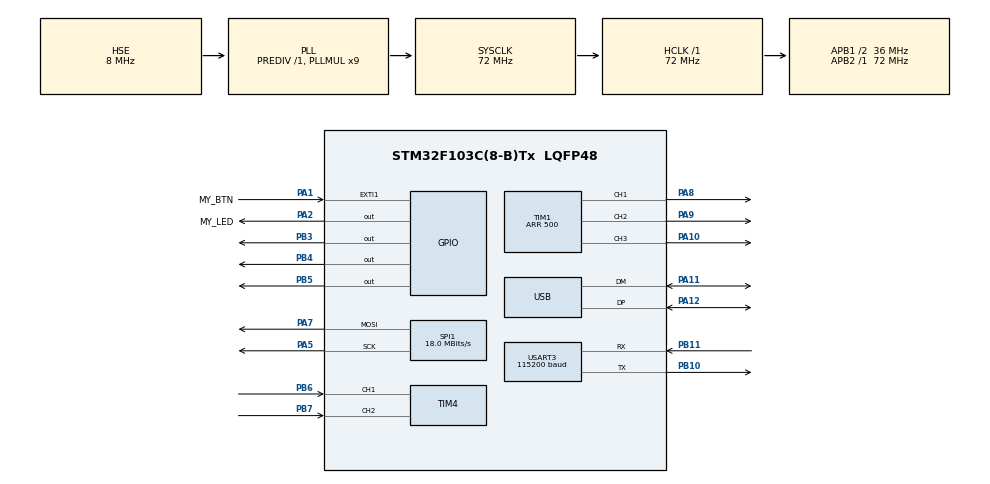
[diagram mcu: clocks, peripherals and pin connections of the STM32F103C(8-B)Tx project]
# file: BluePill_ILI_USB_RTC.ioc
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Mcu.Family=STM32F1
Mcu.Name=STM32F103C(8-B)Tx
Mcu.Package=LQFP48
NVIC.EXTI1_IRQn=true\:0\:0\:false\:false\:true\:true\:true
NVIC.PriorityGroup=NVIC_PRIORITYGROUP_4
NVIC.TIM4_IRQn=true\:0\:0\:false\:false\:true\:true\:true
NVIC.USART3_IRQn=true\:0\:0\:false\:false\:true\:true\:true
NVIC.USB_LP_CAN1_RX0_IRQn=true\:0\:0\:false\:false\:true\:false\:true
PA1.GPIO_Label=MY_BTN
PA1.GPIO_PuPd=GPIO_PULLUP
PA1.Signal=GPXTI1
PA10.Signal=S_TIM1_CH3
PA11.Mode=Device
PA11.Signal=USB_DM
PA12.Mode=Device
PA12.Signal=USB_DP
PA13.Mode=Serial_Wire
PA13.Signal=SYS_JTMS-SWDIO
PA14.Mode=Serial_Wire
PA14.Signal=SYS_JTCK-SWCLK
PA2.GPIO_Label=MY_LED
PA2.Signal=GPIO_Output
PA5.Mode=TX_Only_Simplex_Unidirect_Master
PA5.Signal=SPI1_SCK
PA7.Mode=TX_Only_Simplex_Unidirect_Master
PA7.Signal=SPI1_MOSI
PA8.Signal=S_TIM1_CH1
PA9.Signal=S_TIM1_CH2
PB10.Mode=Asynchronous
PB10.Signal=USART3_TX
PB11.Mode=Asynchronous
PB11.Signal=USART3_RX
PB3.Signal=GPIO_Output
PB4.Signal=GPIO_Output
PB5.Signal=GPIO_Output
PB6.GPIO_PuPd=GPIO_PULLUP
PB6.Signal=S_TIM4_CH1
PB7.GPIO_PuPd=GPIO_PULLUP
PB7.Signal=S_TIM4_CH2
PC14-OSC32_IN.Mode=LSE-External-Oscillator
PC14-OSC32_IN.Signal=RCC_OSC32_IN
PC15-OSC32_OUT.Mode=LSE-External-Oscillator
PC15-OSC32_OUT.Signal=RCC_OSC32_OUT
PD0-OSC_IN.Mode=HSE-External-Oscillator
PD0-OSC_IN.Signal=RCC_OSC_IN
PD1-OSC_OUT.Mode=HSE-External-Oscillator
PD1-OSC_OUT.Signal=RCC_OSC_OUT
ProjectManager.HeapSize=0x200
ProjectManager.StackSize=0x400
ProjectManager.TargetToolchain=STM32CubeIDE
RCC.AHBFreq_Value=72000000
RCC.APB1CLKDivider=RCC_HCLK_DIV2
RCC.APB1Freq_Value=36000000
RCC.APB1TimFreq_Value=72000000
RCC.APB2Freq_Value=72000000
RCC.APB2TimFreq_Value=72000000
RCC.EnbaleCSS=true
RCC.HCLKFreq_Value=72000000
RCC.PLLMUL=RCC_PLL_MUL9
RCC.PLLSourceVirtual=RCC_PLLSOURCE_HSE
RCC.RTCClockSelection=RCC_RTCCLKSOURCE_LSE
RCC.SYSCLKFreq_VALUE=72000000
RCC.SYSCLKSource=RCC_SYSCLKSOURCE_PLLCLK
RCC.USBFreq_Value=48000000
RCC.USBPrescaler=RCC_USBCLKSOURCE_PLL_DIV1_5
RTC.AutoPrediv=RTC_AUTO_1_SECOND
SH.S_TIM1_CH1.0=TIM1_CH1,PWM Generation1 CH1
SH.S_TIM1_CH2.0=TIM1_CH2,PWM Generation2 CH2
SH.S_TIM1_CH3.0=TIM1_CH3,PWM Generation3 CH3
SH.S_TIM4_CH1.0=TIM4_CH1,Encoder_Interface
SH.S_TIM4_CH2.0=TIM4_CH2,Encoder_Interface
SPI1.BaudRatePrescaler=SPI_BAUDRATEPRESCALER_4
SPI1.CalculateBaudRate=18.0 MBits/s
SPI1.Direction=SPI_DIRECTION_2LINES
SPI1.Mode=SPI_MODE_MASTER
SPI1.VirtualType=VM_MASTER
TIM1.Channel-PWM\ Generation1\ CH1=TIM_CHANNEL_1
TIM1.Channel-PWM\ Generation2\ CH2=TIM_CHANNEL_2
TIM1.Channel-PWM\ Generation3\ CH3=TIM_CHANNEL_3
TIM1.Period=500
USART3.BaudRate=115200
USART3.VirtualMode=VM_ASYNC
USB_DEVICE.CLASS_NAME_FS=CDC
USB_DEVICE.VirtualMode=Cdc
USB_DEVICE.VirtualModeFS=Cdc_FS
VP_RTC_VS_RTC_Activate.Mode=RTC_Enabled
VP_USB_DEVICE_VS_USB_DEVICE_CDC_FS.Mode=CDC_FS
board=custom

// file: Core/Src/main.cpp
/* USER CODE BEGIN Header */
/**
  ******************************************************************************
  * @file           : main.c
  * @brief          : Main program body
  ******************************************************************************
  * @attention
  *
  * <h2><center>&copy; Copyright (c) 2020 STMicroelectronics.
  * All rights reserved.</center></h2>
  *
  * This software component is licensed by ST under BSD 3-Clause license,
  * the "License"; You may not use this file except in compliance with the
  * License. You may obtain a copy of the License at:
  *                        opensource.org/licenses/BSD-3-Clause
  *
  ******************************************************************************
  */

/* JK Display Connection
 * Display wiki: http://www.lcdwiki.com/2.2inch_SPI_Module_ILI9341_SKU:MSP2202
 * Display				BluePill
 * 1) VCC				3.3V~5V
 * 2) GND				GND
 * 3) CS				PB3
 * 4) RESET				PB5
 * 5) DC/RS				PB4
 * 6) SDI/MOSI			PA7	(SPI1_MOSI)
 * 7) SCK				PA5	(SPI1_SCK)
 * 8) LED				PA8
 * 9) SDO/MISO			PA6	(SPI1_MISO)
 *
* USART3
 * PB10 USART TX
 * PB11 USART RX
 *
 * TIM3 form PWM over USART3
 * PA8	TIM1_CH1
 * PA9	TIM1_CH2
 * PA10	TIM1_CH3
 *
 * TIM4 Encoder mode: PB6, PB7
 *
 * Encoder Button:  PA1
 *
 * LED: PA2
 *
 */

/* USER CODE END Header */
#include "main.h"
#include "usb_device.h"

/* USER CODE BEGIN Includes */

#include "stdint.h"
#include <string.h>
#include <JKDateTime.h>
#include <JKLCDMenu.h>
#include <JKEEPROM.h>
#include "JK_USART_Commands.h"
#include "ILI9341_STM32_Driver.h"
#include "eeprom.h"
#include "eepromConfig.h"
#include "ringbuf.h"
#include <math.h>

/* USER CODE END Includes */

RTC_HandleTypeDef hrtc;

SPI_HandleTypeDef hspi1;

TIM_HandleTypeDef htim1;
TIM_HandleTypeDef htim4;

UART_HandleTypeDef huart3;

/* USER CODE BEGIN PV */
extern uint16_t LCD_HEIGHT;
extern uint16_t LCD_WIDTH;

int32_t pwm1_value_A= 55;
int32_t pwm2_value_A= 55;
int32_t pwm3_value_A= 55;
int32_t pwm1_value_B = 500;
int32_t pwm2_value_B = 500;
int32_t pwm3_value_B = 500;

char USARTcommandBuffer[USART_CMDBUFFERSIZE];

struct ringbuf ringBuffer;
uint8_t ringData(USART_RXBUFFERSIZE);

//struct ringbuf ringBufferCommands;
//uint8_t ringDataCommands(USART_RXBUFFERSIZE);

uint8_t btnFlag = 0;
uint8_t usartFlag = 0;

JKDateTime DateTime;
JKLCDMenu LCDMenu;
JKEEPROM MyEEPROM;

int32_t menu_Hours = 0;
int32_t menu_Minutes = 0;
int32_t menu_Seconds = 0;
int32_t menu_Day = 3;
int32_t menu_Month = 4;
int32_t menu_Year = 5;

/* USER CODE END PV */

void SystemClock_Config(void);
static void MX_GPIO_Init(void);
static void MX_RTC_Init(void);
static void MX_SPI1_Init(void);
static void MX_TIM1_Init(void);
static void MX_TIM4_Init(void);
static void MX_USART3_UART_Init(void);

int main(void)
{

  /* MCU Configuration--------------------------------------------------------*/

  /* Reset of all peripherals, Initializes the Flash interface and the Systick. */
  HAL_Init();

  /* Configure the system clock */
  SystemClock_Config();

  /* Initialize all configured peripherals */
  MX_GPIO_Init();
  MX_RTC_Init();
  MX_USB_DEVICE_Init();
  MX_SPI1_Init();
  MX_TIM1_Init();
  MX_TIM4_Init();
  MX_USART3_UART_Init();
  /* USER CODE BEGIN 2 */

  uint32_t timeCnt = 0;
  char buff[100];

  /*---------UART Enable interrupts-------------*/
  __HAL_UART_ENABLE_IT(&huart3, UART_IT_RXNE);
  HAL_NVIC_SetPriority(USART3_IRQn, 0, 0);
  HAL_NVIC_EnableIRQ(USART3_IRQn);

  /*---------Timer Encoder-------------*/
  HAL_TIM_Encoder_Start_IT(&htim4, TIM_CHANNEL_ALL);
  /*---------Timer PWM-------------*/
  HAL_TIM_PWM_Start(&htim1, TIM_CHANNEL_1);
  HAL_TIM_PWM_Start(&htim1, TIM_CHANNEL_2);
  HAL_TIM_PWM_Start(&htim1, TIM_CHANNEL_3);

  /*---------Display init -------------*/
  ILI9341_Init();
  ILI9341_Set_Rotation(SCREEN_HORIZONTAL_2);
  //ILI9341_Set_Rotation(SCREEN_VERTICAL_1);

  ILI9341_Fill_Screen(BLACK);
  //Crosshair
  //ILI9341_Draw_Horizontal_Line(0, LCD_HEIGHT/2, LCD_WIDTH, DARKGREY);
  //ILI9341_Draw_Vertical_Line(LCD_WIDTH/2, 0, LCD_HEIGHT, DARKGREY);
  //Top Row
    ILI9341_Draw_Rectangle(0, 0, LCD_WIDTH, 20, NAVY);
    ILI9341_WriteString(320/3, 4, (char*)"System started", Font_7x10, WHITE, NAVY);

    //Spectrum
    //LCD_DrawSpectrum(20, LCD_HEIGHT/2 + 40 , LCD_WIDTH/2 - 40 , LCD_HEIGHT/2 - 60, 255);
    //ILI9341_Draw_Hollow_Rectangle(20, LCD_HEIGHT/2 + 40 , LCD_WIDTH/2 - 40  , LCD_HEIGHT/2 - 60, DARKGREY);

    //---------LCD Log init-------------
    ILI9341_Log_Init( 20  , LCD_HEIGHT/2 + 40, LCD_WIDTH - 40 + 1, LCD_HEIGHT/2 - 50 + 1, NAVY, GREEN, 0);

  /*---------USB CDC Test-------------*/
  //sprintf((char*)buff, "pokus");
  //CDC_Transmit_FS((uint8_t*)buff, strlen((char*)buff));

  MyEEPROM.addItem((char*)"Red", 	EEPROM_PWM1, (uint32_t*)&pwm1_value_A);
  MyEEPROM.addItem((char*)"Green", 	EEPROM_PWM2, (uint32_t*)&pwm2_value_A);
  MyEEPROM.addItem((char*)"Blue", 	EEPROM_PWM3, (uint32_t*)&pwm3_value_A);
  MyEEPROM.addItem((char*)"Day", 	EEPROM_DAY, (uint32_t*)&menu_Day);
  MyEEPROM.addItem((char*)"Month", 	EEPROM_MONTH, (uint32_t*)&menu_Month);
  MyEEPROM.addItem((char*)"Year", 	EEPROM_YEAR, (uint32_t*)&menu_Year);
  DateTime.SetDay(menu_Day);
  DateTime.SetMonth(menu_Month);
  DateTime.SetYear(menu_Year);

  //sprintf((char*)buff,"%s %li ",MyEEPROM.GetItemText(3), MyEEPROM.GetItemValue(3));
  //ILI9341_WriteString(0, 165, (char*)buff, Font_11x18, RED, WHITE);

  enum {
 	  M_TOP, //Menu Top level ID  = 0
 	  M_CLR,		//Menu Colors ID  = 1
 	  M_TIM,		//Menu Time ID  = 2
 	  M_DAT,		//Menu Date ID = 3
 	  M_SUB,			//Menu Submenu3 ID = 4

   };

   /*---------LCD Menu init-------------*/
   LCDMenu.addItem(M_TOP,M_TOP,M_CLR,(char*)"R G B", 			ITEMTYPE_GOTOSUBMENU);
 	  LCDMenu.addItem(M_TOP,M_CLR,0,(char*)"Back..", 			ITEMTYPE_EXITSUBMENU);
 	  LCDMenu.addItem(M_TOP,M_CLR,0,(char*)"Red", 				ITEMTYPE_NORMAL, 	&pwm1_value_A, 	Menu_Red_Callback);
 	  LCDMenu.addItem(M_TOP,M_CLR,0,(char*)"Green",				ITEMTYPE_NORMAL, 	&pwm2_value_A, 	Menu_Green_Callback);
 	  LCDMenu.addItem(M_TOP,M_CLR,0,(char*)"Blue",				ITEMTYPE_NORMAL, 	&pwm3_value_A, 	Menu_Blue_Callback);
 	  LCDMenu.addItem(M_TOP,M_CLR,0,(char*)"Red A", 				ITEMTYPE_NORMAL, 	&pwm1_value_A, 	Menu_Red_Callback);
 	  LCDMenu.addItem(M_TOP,M_CLR,0,(char*)"Green B",			ITEMTYPE_NORMAL, 	&pwm2_value_A, 	Menu_Green_Callback);
 	  LCDMenu.addItem(M_TOP,M_CLR,0,(char*)"Blue A",				ITEMTYPE_NORMAL, 	&pwm3_value_A, 	Menu_Blue_Callback);
   LCDMenu.addItem(M_TOP,M_TOP,M_TIM,(char*)"Set time", 		ITEMTYPE_GOTOSUBMENU);
   	  LCDMenu.addItem(M_TOP,M_TIM,0,(char*)"Back..", 			ITEMTYPE_EXITSUBMENU);
   	  LCDMenu.addItem(M_TOP,M_TIM,0,(char*)"Hours", 				ITEMTYPE_NORMAL, 	&menu_Hours, 	Menu_SetHours_Callback);
   	  LCDMenu.addItem(M_TOP,M_TIM,0,(char*)"Minutes", 			ITEMTYPE_NORMAL, 	&menu_Minutes, 	Menu_SetMinutes_Callback);
   	  LCDMenu.addItem(M_TOP,M_TIM,0,(char*)"Seconds", 			ITEMTYPE_NORMAL, 	&menu_Seconds, 	Menu_SetSeconds_Callback);
   LCDMenu.addItem(M_TOP,M_TOP,M_DAT,(char*)"Set date", 		ITEMTYPE_GOTOSUBMENU);
   	  LCDMenu.addItem(M_TOP,M_DAT,0,(char*)"Back..", 			ITEMTYPE_EXITSUBMENU);
   	  LCDMenu.addItem(M_TOP,M_DAT,0,(char*)"Day", 				ITEMTYPE_NORMAL, 		&menu_Day, 	Menu_SetDay_Callback);
   	  LCDMenu.addItem(M_TOP,M_DAT,0,(char*)"Month", 				ITEMTYPE_NORMAL, 	&menu_Month, 	Menu_SetMonth_Callback);
   	  LCDMenu.addItem(M_TOP,M_DAT,0,(char*)"Year", 				ITEMTYPE_NORMAL, 	&menu_Year, 	Menu_SetYear_Callback);
      LCDMenu.addItem(M_TOP,M_DAT,M_SUB,(char*)"To submenu3", 		ITEMTYPE_GOTOSUBMENU);
   	  	  LCDMenu.addItem(M_DAT,M_SUB,0,(char*)"Back..", 			ITEMTYPE_EXITSUBMENU);
   	  	  LCDMenu.addItem(M_DAT,M_SUB,0,(char*)"Submenu3.1", 		ITEMTYPE_NORMAL, 	&pwm1_value_A);
   	  	  LCDMenu.addItem(M_DAT,M_SUB,0,(char*)"Submenu3.2", 		ITEMTYPE_NORMAL, 	&pwm2_value_A);
   	  	  LCDMenu.addItem(M_DAT,M_SUB,0,(char*)"Submenu3.3", 		ITEMTYPE_NORMAL, 	&pwm3_value_A);
   LCDMenu.addItem(M_TOP,M_TOP,0,(char*)"Store settings", 	ITEMTYPE_CALLBACK_ONLY,	 	 NULL, 	Menu_StoreSettings_Callback);
   LCDMenu.addItem(M_TOP,M_TOP,0,(char*)"Load settings", 	ITEMTYPE_CALLBACK_ONLY, 	 NULL, 	Menu_LoadSettings_Callback);

   LCDMenu.Init();

  /*---------Ring Buffer init-------------*/
  ringbuf_init(&ringBuffer, &ringData, USART_RXBUFFERSIZE);
  char buffDateTime[10];
  /* USER CODE END 2 */

  /* Infinite loop */
  /* USER CODE BEGIN WHILE */

  while (1)
  {

		/*--- USART bufer process ---*/
		while(ringbuf_elements(&ringBuffer) != 0) {

		  uint8_t c = ringbuf_get(&ringBuffer);

		  uint8_t commandLen = USART_Extract_Commands(c, (uint8_t*)USARTcommandBuffer,  USART_CMDBUFFERSIZE);
		  if(commandLen !=0 ) {
			  USART_Process_Commands((char*)USARTcommandBuffer,commandLen );
			  ILI9341_LogToLCD(USARTcommandBuffer);
			  //HAL_UART_Transmit(&huart3, (uint8_t*)USARTcommandBuffer,commandLen+1, HAL_MAX_DELAY);
		  } else {
			  //HAL_UART_Transmit(&huart3, (uint8_t*)&c,1, HAL_MAX_DELAY);
		  }
		}

    /* USER CODE END WHILE */

    /* USER CODE BEGIN 3 */

	  if(timeCnt % 500 == 0) {
		  //==========BEGIN 1 second===========
		  DateTime.FillDate();
		  DateTime.FillTime();

		  //Print Date
		  DateTime.DateForPrint(buffDateTime);
		  ILI9341_WriteString(0, 0, buffDateTime, Font_11x18, WHITE, NAVY);

		  //Print Time
		  DateTime.TimeForPrint(buffDateTime);
		  ILI9341_WriteString(LCD_WIDTH-90, 0, buffDateTime, Font_11x18, WHITE, NAVY);

		  //Print Time to serial

		  //DateTime.TimeForPrintLn((char*)buff);
		  //CDC_Transmit_FS((uint8_t*)buff, strlen((char*)buff));

		  //HAL_UART_Transmit(&huart3, (uint8_t*)buff, strlen((char*)buff), 10);
		  //sprintf((char*)buff, "Time Counter:%i  ", timeCnt );
		  //ILI9341_WriteString(10, 75, (char*)buff, Font_7x10, WHITE, BLACK);
		  //==========END 1 second===========

	  }

	  if(timeCnt % 250 == 0) {
		  //==========BEGIN 0.5 sec===========
		  HAL_GPIO_TogglePin(GPIOA, GPIO_PIN_2);
		  //sprintf((char*)buff, "Time Counter:%i\n", timeCnt );
		  //sprintf((char*)buff, "ENCODER: %i     ", __HAL_TIM_GET_COUNTER(&htim4) );
		  //ILI9341_WriteString(160+10, 75, (char*)buff, Font_7x10, ORANGE, BLACK);
		  //CDC_Transmit_FS((uint8_t*)buff, strlen((char*)buff));

		  sprintf((char*)buff, "Time Counter:%li\n", timeCnt );

		  //sprintf((char*)buff, "R:%i G:%i B:%i\n", (int16_t) pwm1_value, (int16_t) pwm1_value, (int16_t) pwm2_value);

		  //sprintf((char*)buff, " #: %i\n", ringbuf_elements(&ringBuffer));

		  //sprintf((char*)buff, "ES:%08x ET:%08x VA:%x\n", _EEPROM_START_FLASH_PAGE_ADDRESS, _EEPROM_TRANSFER_PAGE_ADDRESS, _EEPROM_Num_VirtualAdd_IN_PAGE);

		  //sprintf((char*)buff, " EE:R:%liG:%liB:%li\n", MyEEPROM.ReadItemValueFromEEPROM(EEPROM_PWM1), MyEEPROM.ReadItemValueFromEEPROM(EEPROM_PWM2), MyEEPROM.ReadItemValueFromEEPROM(EEPROM_PWM3));

		  ILI9341_LogToLCD(buff);

		  //==========END 0.5 sec===========
	  }

	  if(timeCnt % 10 == 0) {
		  //==========BEGIN 0.02 sec===========

		  if(btnFlag == USER_BUTTON_ENTER && HAL_GPIO_ReadPin(GPIOA, GPIO_PIN_1) == GPIO_PIN_SET) {

			  LCDMenu.CheckButtons(btnFlag);
			  btnFlag = USER_BUTTON_NONE;
		  }
		  LCDMenu.ProcessMenu();

		  //==========END 0.02 sec===========
	  }

	  //==========BEGIN 1 ms===========

	  //PWM RED
	  if(pwm1_value_B < pwm1_value_A && pwm1_value_B < 500) {
		  pwm1_value_B+=1;
		  pwm1_setvalue(pwm1_value_B);
	  } else if(pwm1_value_B > pwm1_value_A && pwm1_value_B > 0) {
		  pwm1_value_B-=1;
		  pwm1_setvalue(pwm1_value_B);
	  }
	  //PWM GREEN
	  if(pwm2_value_B < pwm2_value_A && pwm2_value_B < 500) {
		  pwm2_value_B+=1;
		  pwm2_setvalue(pwm2_value_B);
	  } else if(pwm2_value_B > pwm2_value_A && pwm2_value_B > 0) {
		  pwm2_value_B-=1;
		  pwm2_setvalue(pwm2_value_B);
	  }
	  //PWM BLUE
	  if(pwm3_value_B < pwm3_value_A && pwm3_value_B < 500) {
		  pwm3_value_B+=1;
		  pwm3_setvalue(pwm3_value_B);
	  } else if(pwm3_value_B > pwm3_value_A && pwm3_value_B > 0) {
		  pwm3_value_B-=1;
		  pwm3_setvalue(pwm3_value_B);
	  }

	  //==========END 1 ms===========
	  HAL_Delay(1);
	  timeCnt++;

  }
  /* USER CODE END 3 */
}

void SystemClock_Config(void)
{
  RCC_OscInitTypeDef RCC_OscInitStruct = {0};
  RCC_ClkInitTypeDef RCC_ClkInitStruct = {0};
  RCC_PeriphCLKInitTypeDef PeriphClkInit = {0};

  /** Initializes the RCC Oscillators according to the specified parameters
  * in the RCC_OscInitTypeDef structure.
  */
  RCC_OscInitStruct.OscillatorType = RCC_OSCILLATORTYPE_HSE|RCC_OSCILLATORTYPE_LSE;
  RCC_OscInitStruct.HSEState = RCC_HSE_ON;
  RCC_OscInitStruct.HSEPredivValue = RCC_HSE_PREDIV_DIV1;
  RCC_OscInitStruct.LSEState = RCC_LSE_ON;
  RCC_OscInitStruct.HSIState = RCC_HSI_ON;
  RCC_OscInitStruct.PLL.PLLState = RCC_PLL_ON;
  RCC_OscInitStruct.PLL.PLLSource = RCC_PLLSOURCE_HSE;
  RCC_OscInitStruct.PLL.PLLMUL = RCC_PLL_MUL9;
  if (HAL_RCC_OscConfig(&RCC_OscInitStruct) != HAL_OK)
  {
    Error_Handler();
  }
  /** Initializes the CPU, AHB and APB buses clocks
  */
  RCC_ClkInitStruct.ClockType = RCC_CLOCKTYPE_HCLK|RCC_CLOCKTYPE_SYSCLK
                              |RCC_CLOCKTYPE_PCLK1|RCC_CLOCKTYPE_PCLK2;
  RCC_ClkInitStruct.SYSCLKSource = RCC_SYSCLKSOURCE_PLLCLK;
  RCC_ClkInitStruct.AHBCLKDivider = RCC_SYSCLK_DIV1;
  RCC_ClkInitStruct.APB1CLKDivider = RCC_HCLK_DIV2;
  RCC_ClkInitStruct.APB2CLKDivider = RCC_HCLK_DIV1;

  if (HAL_RCC_ClockConfig(&RCC_ClkInitStruct, FLASH_LATENCY_2) != HAL_OK)
  {
    Error_Handler();
  }
  PeriphClkInit.PeriphClockSelection = RCC_PERIPHCLK_RTC|RCC_PERIPHCLK_USB;
  PeriphClkInit.RTCClockSelection = RCC_RTCCLKSOURCE_LSE;
  PeriphClkInit.UsbClockSelection = RCC_USBCLKSOURCE_PLL_DIV1_5;
  if (HAL_RCCEx_PeriphCLKConfig(&PeriphClkInit) != HAL_OK)
  {
    Error_Handler();
  }
  /** Enables the Clock Security System
  */
  HAL_RCC_EnableCSS();
}

static void MX_RTC_Init(void)
{

  /** Initialize RTC Only
  */
  hrtc.Instance = RTC;
  hrtc.Init.AsynchPrediv = RTC_AUTO_1_SECOND;
  hrtc.Init.OutPut = RTC_OUTPUTSOURCE_ALARM;
  if (HAL_RTC_Init(&hrtc) != HAL_OK)
  {
    Error_Handler();
  }

}

static void MX_SPI1_Init(void)
{

  /* SPI1 parameter configuration*/
  hspi1.Instance = SPI1;
  hspi1.Init.Mode = SPI_MODE_MASTER;
  hspi1.Init.Direction = SPI_DIRECTION_2LINES;
  hspi1.Init.DataSize = SPI_DATASIZE_8BIT;
  hspi1.Init.CLKPolarity = SPI_POLARITY_LOW;
  hspi1.Init.CLKPhase = SPI_PHASE_1EDGE;
  hspi1.Init.NSS = SPI_NSS_SOFT;
  hspi1.Init.BaudRatePrescaler = SPI_BAUDRATEPRESCALER_4;
  hspi1.Init.FirstBit = SPI_FIRSTBIT_MSB;
  hspi1.Init.TIMode = SPI_TIMODE_DISABLE;
  hspi1.Init.CRCCalculation = SPI_CRCCALCULATION_DISABLE;
  hspi1.Init.CRCPolynomial = 10;
  if (HAL_SPI_Init(&hspi1) != HAL_OK)
  {
    Error_Handler();
  }

}

static void MX_TIM1_Init(void)
{

  TIM_MasterConfigTypeDef sMasterConfig = {0};
  TIM_OC_InitTypeDef sConfigOC = {0};
  TIM_BreakDeadTimeConfigTypeDef sBreakDeadTimeConfig = {0};

  htim1.Instance = TIM1;
  htim1.Init.Prescaler = 0;
  htim1.Init.CounterMode = TIM_COUNTERMODE_UP;
  htim1.Init.Period = 500;
  htim1.Init.ClockDivision = TIM_CLOCKDIVISION_DIV1;
  htim1.Init.RepetitionCounter = 0;
  htim1.Init.AutoReloadPreload = TIM_AUTORELOAD_PRELOAD_DISABLE;
  if (HAL_TIM_PWM_Init(&htim1) != HAL_OK)
  {
    Error_Handler();
  }
  sMasterConfig.MasterOutputTrigger = TIM_TRGO_RESET;
  sMasterConfig.MasterSlaveMode = TIM_MASTERSLAVEMODE_DISABLE;
  if (HAL_TIMEx_MasterConfigSynchronization(&htim1, &sMasterConfig) != HAL_OK)
  {
    Error_Handler();
  }
  sConfigOC.OCMode = TIM_OCMODE_PWM1;
  sConfigOC.Pulse = 0;
  sConfigOC.OCPolarity = TIM_OCPOLARITY_HIGH;
  sConfigOC.OCNPolarity = TIM_OCNPOLARITY_HIGH;
  sConfigOC.OCFastMode = TIM_OCFAST_DISABLE;
  sConfigOC.OCIdleState = TIM_OCIDLESTATE_RESET;
  sConfigOC.OCNIdleState = TIM_OCNIDLESTATE_RESET;
  if (HAL_TIM_PWM_ConfigChannel(&htim1, &sConfigOC, TIM_CHANNEL_1) != HAL_OK)
  {
    Error_Handler();
  }
  if (HAL_TIM_PWM_ConfigChannel(&htim1, &sConfigOC, TIM_CHANNEL_2) != HAL_OK)
  {
    Error_Handler();
  }
  if (HAL_TIM_PWM_ConfigChannel(&htim1, &sConfigOC, TIM_CHANNEL_3) != HAL_OK)
  {
    Error_Handler();
  }
  sBreakDeadTimeConfig.OffStateRunMode = TIM_OSSR_DISABLE;
  sBreakDeadTimeConfig.OffStateIDLEMode = TIM_OSSI_DISABLE;
  sBreakDeadTimeConfig.LockLevel = TIM_LOCKLEVEL_OFF;
  sBreakDeadTimeConfig.DeadTime = 0;
  sBreakDeadTimeConfig.BreakState = TIM_BREAK_DISABLE;
  sBreakDeadTimeConfig.BreakPolarity = TIM_BREAKPOLARITY_HIGH;
  sBreakDeadTimeConfig.AutomaticOutput = TIM_AUTOMATICOUTPUT_DISABLE;
  if (HAL_TIMEx_ConfigBreakDeadTime(&htim1, &sBreakDeadTimeConfig) != HAL_OK)
  {
    Error_Handler();
  }
  HAL_TIM_MspPostInit(&htim1);

}

static void MX_TIM4_Init(void)
{

  TIM_Encoder_InitTypeDef sConfig = {0};
  TIM_MasterConfigTypeDef sMasterConfig = {0};

  htim4.Instance = TIM4;
  htim4.Init.Prescaler = 0;
  htim4.Init.CounterMode = TIM_COUNTERMODE_UP;
  htim4.Init.Period = 65535;
  htim4.Init.ClockDivision = TIM_CLOCKDIVISION_DIV1;
  htim4.Init.AutoReloadPreload = TIM_AUTORELOAD_PRELOAD_DISABLE;
  sConfig.EncoderMode = TIM_ENCODERMODE_TI1;
  sConfig.IC1Polarity = TIM_ICPOLARITY_RISING;
  sConfig.IC1Selection = TIM_ICSELECTION_DIRECTTI;
  sConfig.IC1Prescaler = TIM_ICPSC_DIV1;
  sConfig.IC1Filter = 0;
  sConfig.IC2Polarity = TIM_ICPOLARITY_RISING;
  sConfig.IC2Selection = TIM_ICSELECTION_DIRECTTI;
  sConfig.IC2Prescaler = TIM_ICPSC_DIV1;
  sConfig.IC2Filter = 0;
  if (HAL_TIM_Encoder_Init(&htim4, &sConfig) != HAL_OK)
  {
    Error_Handler();
  }
  sMasterConfig.MasterOutputTrigger = TIM_TRGO_RESET;
  sMasterConfig.MasterSlaveMode = TIM_MASTERSLAVEMODE_DISABLE;
  if (HAL_TIMEx_MasterConfigSynchronization(&htim4, &sMasterConfig) != HAL_OK)
  {
    Error_Handler();
  }

}

static void MX_USART3_UART_Init(void)
{

  huart3.Instance = USART3;
  huart3.Init.BaudRate = 115200;
  huart3.Init.WordLength = UART_WORDLENGTH_8B;
  huart3.Init.StopBits = UART_STOPBITS_1;
  huart3.Init.Parity = UART_PARITY_NONE;
  huart3.Init.Mode = UART_MODE_TX_RX;
  huart3.Init.HwFlowCtl = UART_HWCONTROL_NONE;
  huart3.Init.OverSampling = UART_OVERSAMPLING_16;
  if (HAL_UART_Init(&huart3) != HAL_OK)
  {
    Error_Handler();
  }

}

static void MX_GPIO_Init(void)
{
  GPIO_InitTypeDef GPIO_InitStruct = {0};

  /* GPIO Ports Clock Enable */
  __HAL_RCC_GPIOC_CLK_ENABLE();
  __HAL_RCC_GPIOD_CLK_ENABLE();
  __HAL_RCC_GPIOA_CLK_ENABLE();
  __HAL_RCC_GPIOB_CLK_ENABLE();

  /*Configure GPIO pin Output Level */
  HAL_GPIO_WritePin(MY_LED_GPIO_Port, MY_LED_Pin, GPIO_PIN_RESET);

  /*Configure GPIO pin Output Level */
  HAL_GPIO_WritePin(GPIOB, GPIO_PIN_3|GPIO_PIN_4|GPIO_PIN_5, GPIO_PIN_RESET);

  /*Configure GPIO pin : MY_BTN_Pin */
  GPIO_InitStruct.Pin = MY_BTN_Pin;
  GPIO_InitStruct.Mode = GPIO_MODE_IT_RISING;
  GPIO_InitStruct.Pull = GPIO_PULLUP;
  HAL_GPIO_Init(MY_BTN_GPIO_Port, &GPIO_InitStruct);

  /*Configure GPIO pin : MY_LED_Pin */
  GPIO_InitStruct.Pin = MY_LED_Pin;
  GPIO_InitStruct.Mode = GPIO_MODE_OUTPUT_PP;
  GPIO_InitStruct.Pull = GPIO_NOPULL;
  GPIO_InitStruct.Speed = GPIO_SPEED_FREQ_LOW;
  HAL_GPIO_Init(MY_LED_GPIO_Port, &GPIO_InitStruct);

  /*Configure GPIO pins : PB3 PB4 PB5 */
  GPIO_InitStruct.Pin = GPIO_PIN_3|GPIO_PIN_4|GPIO_PIN_5;
  GPIO_InitStruct.Mode = GPIO_MODE_OUTPUT_PP;
  GPIO_InitStruct.Pull = GPIO_NOPULL;
  GPIO_InitStruct.Speed = GPIO_SPEED_FREQ_LOW;
  HAL_GPIO_Init(GPIOB, &GPIO_InitStruct);

  /* EXTI interrupt init*/
  HAL_NVIC_SetPriority(EXTI1_IRQn, 0, 0);
  HAL_NVIC_EnableIRQ(EXTI1_IRQn);

}

/* USER CODE BEGIN 4 */
void pwm1_setvalue(uint16_t value)
{
	if(logaritmize(&value, 500, 500)) {
		TIM1->CCR1 = (uint32_t)value;
	}
}
void pwm2_setvalue(uint16_t value)
{
	if(logaritmize(&value, 500, 500)) {
		TIM1->CCR2 = (uint32_t)value;
	}
}
void pwm3_setvalue(uint16_t value)
{
	if(logaritmize(&value, 500, 500)) {
		TIM1->CCR3 = (uint32_t)value;
	}
}

void SetMyDay(uint8_t val) {
	DateTime.SetDay(val);
}

void SetMyMonth(uint8_t val) {
	DateTime.SetMonth(val);
}

void SetMyYear(uint8_t val) {
	DateTime.SetYear(val);
}

void SetMyHours(uint8_t val) {
	DateTime.SetHours(val);
	  //EE_WriteVariable(VirtAddVarTab[0], 717);
	  //EE_WriteVariable(VirtAddVarTab[1], 818);
}

void SetMyMinutes(uint8_t val) {
	DateTime.SetMinutes(val);
}

void SetMySeconds(uint8_t val) {
	DateTime.SetSeconds(val);
}

void Interrupt_EncoderChange(){
	static int16_t previousEncoderCnt = 0;

	HAL_GPIO_TogglePin(GPIOA, GPIO_PIN_2);

	int16_t encoderCnt = 0;
	uint8_t btnState = USER_BUTTON_NONE;
	encoderCnt = ((int16_t)__HAL_TIM_GET_COUNTER(&htim4))/2;

	if(encoderCnt > previousEncoderCnt) {
		btnState = USER_BUTTON_UP;
	} else if(encoderCnt < previousEncoderCnt) {
		btnState = USER_BUTTON_DOWN;
	} else {
		btnState = USER_BUTTON_NONE;
	}

	LCDMenu.CheckButtons(btnState);

	previousEncoderCnt = encoderCnt;
}

void Interrupt_ButtonPressed() {
	btnFlag = USER_BUTTON_ENTER;
	HAL_GPIO_TogglePin(GPIOA, GPIO_PIN_2);
}

void LCDMENU_ClearArea(uint16_t posx, uint16_t posy, uint16_t width, uint16_t height)  {
	ILI9341_Draw_Filled_Rectangle_Coord(posx,posy,posx+width,posy+height,BLACK);
}

void LCDMENU_WriteString(char* buffer, uint16_t posx, uint16_t posy) {
	ILI9341_WriteString(posx, posy, (char*)buffer, Font_11x18, ORANGE, BLACK);
}

void LCDMENU_WriteStringActive(char* buffer, uint16_t posx, uint16_t posy) {
	ILI9341_WriteString(posx, posy, (char*)buffer, Font_11x18, WHITE, BLACK);
}

void LCDMENU_RectangleAround(uint16_t posx, uint16_t posy, uint16_t width, uint16_t height) {
	ILI9341_Draw_Hollow_Rectangle_Coord(posx, posy, posx + width, posy + height, BLACK);
}
void LCDMENU_RectangleAround_Active(uint16_t posx, uint16_t posy, uint16_t width, uint16_t height) {
	ILI9341_Draw_Hollow_Rectangle_Coord(posx, posy, posx + width, posy + height, ORANGE);
}

void Menu_Red_Callback(int param) {
	pwm1_value_A = pwm1_value_A + param * 100;
	if(pwm1_value_A > 499) pwm1_value_A = 500;
	if(pwm1_value_A < 0) pwm1_value_A = 0;
}

void Menu_Green_Callback(int param) {
	pwm2_value_A = pwm2_value_A + param * 100;
	if(pwm2_value_A > 499) pwm2_value_A = 500;
	if(pwm2_value_A < 0) pwm2_value_A = 0;
}
void Menu_Blue_Callback(int param) {
	pwm3_value_A = pwm3_value_A + param * 100;
	if(pwm3_value_A > 499) pwm3_value_A = 500;
	if(pwm3_value_A < 0) pwm3_value_A = 0;
}

void Menu_SetHours_Callback(int param) {
	menu_Hours = DateTime.GetHours();
	menu_Hours = menu_Hours + param;
	if(menu_Hours < 0) menu_Hours = 0;
	if(menu_Hours > 23) menu_Hours = 23;
	DateTime.SetHours((uint8_t)menu_Hours);
}

void Menu_SetMinutes_Callback(int param) {
	menu_Minutes = DateTime.GetMinutes();
	menu_Minutes = menu_Minutes + param;
	if(menu_Minutes < 0) menu_Minutes = 0;
	if(menu_Minutes > 60) menu_Minutes = 23;
	DateTime.SetMinutes((uint8_t)menu_Minutes);
}

void Menu_SetSeconds_Callback(int param) {
	menu_Seconds = DateTime.GetSeconds();
	menu_Seconds = menu_Seconds + param;
	if(menu_Seconds < 0) menu_Seconds = 0;
	if(menu_Seconds > 60) menu_Seconds = 23;
	DateTime.SetSeconds((uint8_t)menu_Seconds);
}

void Menu_SetDay_Callback(int param) {
	menu_Day = DateTime.GetDay();
	menu_Day = menu_Day + param;
	if(menu_Day < 0) menu_Day = 0;
	if(menu_Day > 31) menu_Day = 23;
	DateTime.SetDay((uint8_t)menu_Day);
}

void Menu_SetMonth_Callback(int param) {
	menu_Month = DateTime.GetMonth();
	menu_Month = menu_Month + param;
	if(menu_Month < 0) menu_Month = 0;
	if(menu_Month > 12) menu_Month = 12;
	DateTime.SetMonth((uint8_t)menu_Month);
}

void Menu_SetYear_Callback(int param) {
	menu_Year = DateTime.GetYear();
	menu_Year = menu_Year + param;
	if(menu_Year < 0) menu_Year = 0;
	if(menu_Year > 99) menu_Year = 99;
	DateTime.SetYear((uint8_t)menu_Year);
}

void Menu_StoreSettings_Callback(int param) {

	menu_Day = DateTime.GetDay();
	menu_Month = DateTime.GetMonth();
	menu_Year = DateTime.GetYear();

	//MyEEPROM.SaveAllItemsVariablesToEEPROM();

	MyEEPROM.SaveItemVariableToEEPROM(EEPROM_PWM1); //Red PWM
	MyEEPROM.SaveItemVariableToEEPROM(EEPROM_PWM2); //Green PWM
	MyEEPROM.SaveItemVariableToEEPROM(EEPROM_PWM3); //Blue PWM
	MyEEPROM.SaveItemVariableToEEPROM(EEPROM_DAY); 	//Day
	MyEEPROM.SaveItemVariableToEEPROM(EEPROM_MONTH); //Month
	MyEEPROM.SaveItemVariableToEEPROM(EEPROM_YEAR); //Year*/

	ILI9341_WriteString(LCDMENU_X_POS, 80, (char*)"Settings stored", Font_11x18, RED, WHITE);
}

void Menu_LoadSettings_Callback(int param) {

	MyEEPROM.UpdateItemVariableFromEEPROM(EEPROM_PWM1); //Red PWM
	MyEEPROM.UpdateItemVariableFromEEPROM(EEPROM_PWM2); //Red PWM
	MyEEPROM.UpdateItemVariableFromEEPROM(EEPROM_PWM3); //Red PWM
	MyEEPROM.UpdateItemVariableFromEEPROM(EEPROM_DAY); //Day
	MyEEPROM.UpdateItemVariableFromEEPROM(EEPROM_MONTH); //Month
	MyEEPROM.UpdateItemVariableFromEEPROM(EEPROM_YEAR); //Year*/

	//MyEEPROM.UpdateAllItemsVariablesFromEEPROM();

	DateTime.SetDay(menu_Day);
	DateTime.SetMonth(menu_Month);
	DateTime.SetYear(menu_Year);

	ILI9341_WriteString(LCDMENU_X_POS, 80, (char*)"Settings Loaded", Font_11x18, RED, WHITE);
}

void LCD_DrawSpectrum(uint16_t x, uint16_t y, uint16_t width, uint16_t height, uint8_t brightness) {

    float c = 0.0f;
    uint16_t red, green, blue = 0;
    float fIncrement = 1.0 / width;
    uint16_t sixTimes = brightness * 6; //1530=255*6

	for(uint16_t i = x; i <= (x + width); i++) {

		if(c >= 0 && c <= (1/6.f)){
			red = brightness;
			green = sixTimes * c;
			blue = 0;
		} else if( c > (1/6.f) && c <= (1/3.f) ){
			red = brightness - (sixTimes * (c - 1/6.f));
			green = brightness;
			blue = 0;
		} else if( c > (1/3.f) && c <= (1/2.f)){
			red = 0;
			green = brightness;
			blue = sixTimes * (c - 1/3.f);
		} else if(c > (1/2.f) && c <= (2/3.f)) {
			red = 0;
			green = brightness - ((c - 0.5f) * sixTimes);
			blue = brightness;
		} else if( c > (2/3.f) && c <= (5/6.f) ){
			red = (c - (2/3.f)) * sixTimes;
			green = 0;
			blue = brightness;
		} else if(c > (5/6.f) && c <= 1 ){
			red = brightness;
			green = 0;
			blue = brightness - ((c - (5/6.f)) * sixTimes);
		}

		ILI9341_Draw_Vertical_Line( i, y, height, ASSEMBLE_RGB(red, green, blue));
		//HAL_Delay(1);

	  c += fIncrement;
  }

  c=0.0;
}

void HAL_UART_RxCpltCallback(UART_HandleTypeDef *UartHandle)
{

	if (UartHandle->Instance == USART3) {
		//HAL_GPIO_TogglePin(GPIOA, GPIO_PIN_2);
		//USART_Extract_Commands(receiveBuffer, USART_RXBUFFERSIZE);
		//if (HAL_UART_Receive_IT(&huart3, receiveBuffer, USART_RXBUFFERSIZE) != HAL_OK){
	    //    Error_Handler();
		//}
	}
}

/* - Makes input range logaritmic (0-50-100 to 0-10-100)
 * - Trasposes input range to outputMax (0-50-100 to 0-100-1000)
 * returns 0 if inputValue is < 0 or > inputMax
 * returns 1 if inputValue is OK
 * inputValue - pointer to input value
 * inputMax - maximum of input range
 * outputMax - maximum of output range
 */
uint8_t logaritmize(uint16_t* inputValue, uint16_t inputMax, uint16_t outputMax) {

	double logarithm = 0.0;
	uint16_t value = *inputValue;
	if(value <= inputMax && value >= 0) {
	    logarithm = outputMax - (outputMax * log10(500 - value + 1) / log10(500));
	    if(logarithm < 0) {
	        logarithm = 0;
	    }
	    logarithm = round(logarithm);
	    *inputValue = (uint16_t)logarithm;
	    return 1;
	} else {
		return 0;
	}
    //Vystupni_maximum - (Vystupni_maximum * LOG(inputMax - value + 1)  /  LOG(inputMax))
}

/* USER CODE END 4 */

void Error_Handler(void)
{
}

/************************ (C) COPYRIGHT STMicroelectronics *****END OF FILE****/
